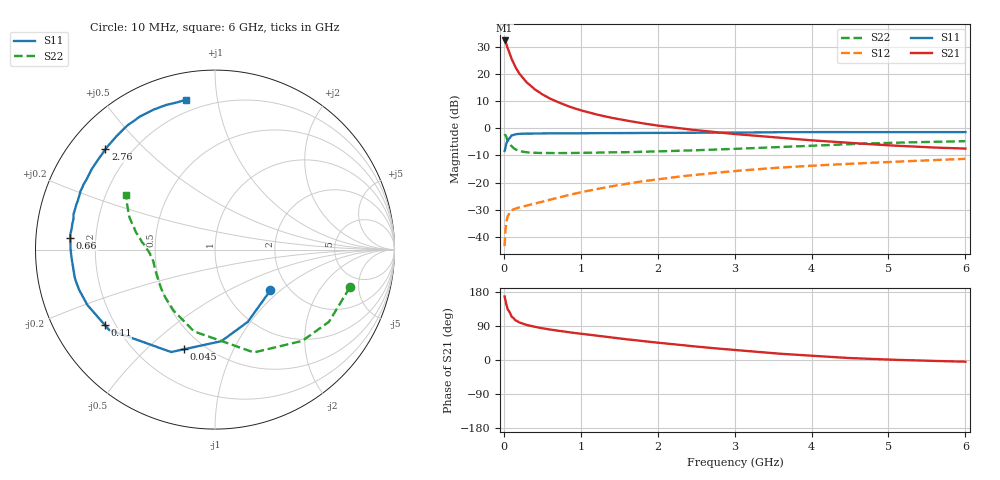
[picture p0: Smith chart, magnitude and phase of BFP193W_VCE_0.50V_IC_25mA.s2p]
! Infineon Technologies  Discrete & RF Semiconductors
! BFP193W
! VCE = 0.50V,  IC =  25 mA
! Common Emitter S-Parameters:  Jan 2016
# GHz  S  MA  R  50
!  f  S11  S21  S12  S22
! GHz  MAG  ANG  MAG  ANG  MAG  ANG  MAG  ANG
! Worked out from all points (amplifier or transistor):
!   210 points, 10 MHz to 6 GHz, reference 50 ohm
!   highest |S21| = 32.3 dB at 10 MHz (marker M1)
!   |S21| within 3 dB of that: start of sweep to 52.26 MHz
!   unconditionally stable (mu >= 1): 507.8 MHz to end of sweep
!   at 185 MHz: K = 0.49, MSG = 25.1 dB, |S12| = -29.3 dB
!   at 1.52 GHz: K = 1.35, MAG = 8.4 dB, |S12| = -20.8 dB
!   at 6 GHz: K = 1.17, MAG = -0.6 dB, |S12| = -11.2 dB
!   S11 on the Smith chart (normalised r, x): 10 MHz: 1.61, -0.86; 45 MHz: 0.39, -0.66; 110 MHz: 0.16, -0.30; 660 MHz: 0.11, +0.04; 2.76 GHz: 0.11, +0.38; 6 GHz: 0.14, +0.82
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0.01  0.3832 -36.3  41.11 167.7  0.0068 77.1  0.7804 -15.6
0.02  0.4422 -65.6  38.89 157.7  0.0132 68.5  0.7516 -32.4
0.03  0.5115 -86.0  36.17 148.4  0.0177 61.1  0.7036 -46.3
0.045  0.5823 -107.4  31.07 138.0  0.0226 51.2  0.6252 -63.0
0.05  0.6209 -113.2  29.64 133.8  0.0243 48.8  0.6126 -69.3
0.1  0.7405 -142.9  18.86 114.5  0.0311 35.1  0.4705 -104.4
0.11  0.7439 -145.7  17.72 113.1  0.0315 34.2  0.4546 -107.9
0.15  0.775 -156.5  13.3 104.8  0.0334 30.8  0.4109 -124.1
0.195  0.7871 -162.6  10.49 99.9  0.0347 30.5  0.3861 -134.8
0.24  0.7952 -167.2  8.648 96.2  0.036 31.2  0.3728 -142.3
0.3  0.7961 -171.5  6.894 92.3  0.0379 33.2  0.3612 -149.7
0.4  0.8005 -176.6  5.213 87.5  0.0413 36.5  0.3537 -156.8
0.45  0.8023 -178.4  4.703 85.8  0.0429 38.3  0.3523 -159.1
0.66  0.809 175.3  3.226 78.7  0.0511 44.3  0.3496 -166.2
1.02  0.8077 167.6  2.1 68.9  0.0674 50.2  0.354 -171.9
1.4  0.8113 160.5  1.558 59.4  0.0858 52.5  0.3616 -175.3
2.02  0.8168 149.6  1.112 45.3  0.1165 51.8  0.3762 -179.7
2.76  0.8281 137.5  0.846 30.6  0.1522 47.6  0.4066 174.6
3.1  0.8341 132.3  0.763 24.8  0.1678 45.2  0.4235 171.5
4.1  0.8507 118.5  0.587 9.9  0.2084 37.4  0.4857 162.4
5.1  0.8498 108.1  0.478 0.4  0.2429 30.3  0.5429 153.9
6  0.8503 101.0  0.423 -4.4  0.2743 24.6  0.5794 148.4
